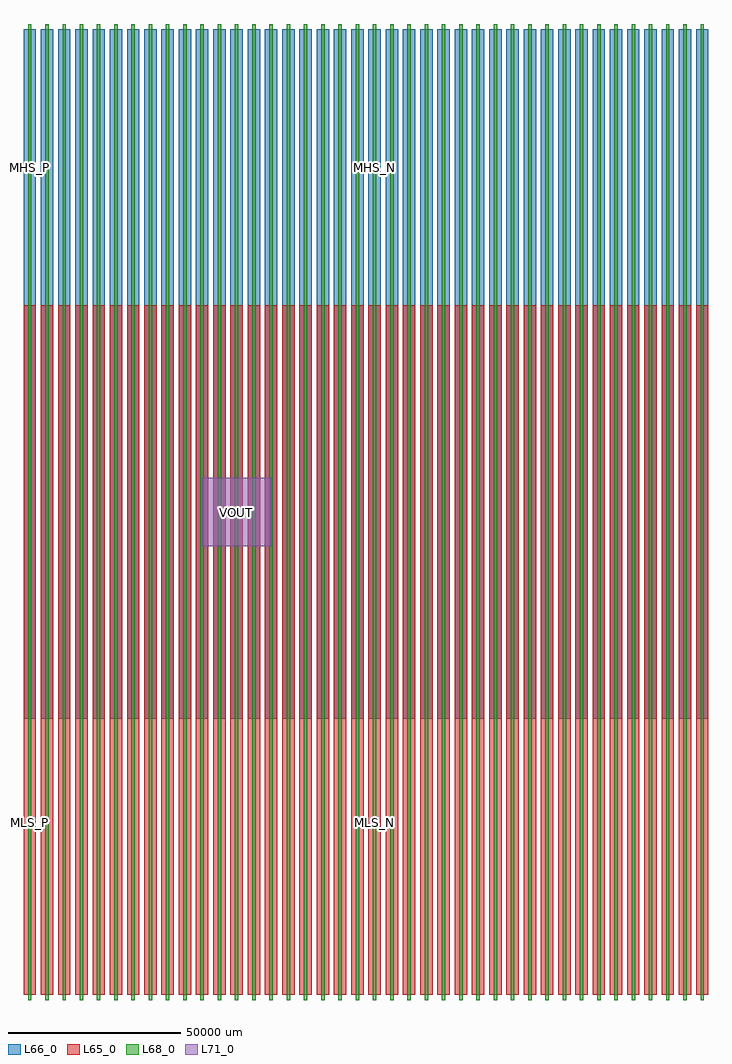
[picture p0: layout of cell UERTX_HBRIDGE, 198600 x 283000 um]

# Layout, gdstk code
import gdstk
lib = gdstk.Library(unit=1e-6, precision=1e-09)
def R(c, l, rs):  # rectangles x0, y0, x1, y1
    for r in rs: c.add(gdstk.rectangle(r[:2], r[2:], *l))
def A(c, l, x, y, w, h, nx, ny, dx, dy):  # array of equal rectangles
    R(c, l, [(x+i*dx, y+j*dy, x+i*dx+w, y+j*dy+h) for i in range(nx) for j in range(ny)])
L65_0 = (65, 0)
L66_0 = (66, 0)
L68_0 = (68, 0)
L71_0 = (71, 0)

uertx_hbridge = lib.new_cell('UERTX_HBRIDGE')
A(uertx_hbridge, L65_0, -61800, -140000, 3600, 200000, 40, 1, 5000, 0)
A(uertx_hbridge, L66_0, -61800, -60000, 3600, 200000, 40, 1, 5000, 0)
A(uertx_hbridge, L68_0, -60500, -141500, 1000, 203000, 40, 2, 5000, 80000)
R(uertx_hbridge, L71_0, [(-10000,-10000,10000,10000)])
uertx_hbridge.add(gdstk.Label('UERTX H-Bridge (sky130)', (-90000,110000), layer=71, texttype=0))
uertx_hbridge.add(gdstk.Label('MHS_P', (-60000,100000), layer=71, texttype=0))
uertx_hbridge.add(gdstk.Label('MHS_N', (40000,100000), layer=71, texttype=0))
uertx_hbridge.add(gdstk.Label('MLS_P', (-60000,-90000), layer=71, texttype=0))
uertx_hbridge.add(gdstk.Label('MLS_N', (40000,-90000), layer=71, texttype=0))
uertx_hbridge.add(gdstk.Label('VOUT', (0,0), layer=71, texttype=0))

lib.write_gds('UERTX_HBRIDGE.gds')
